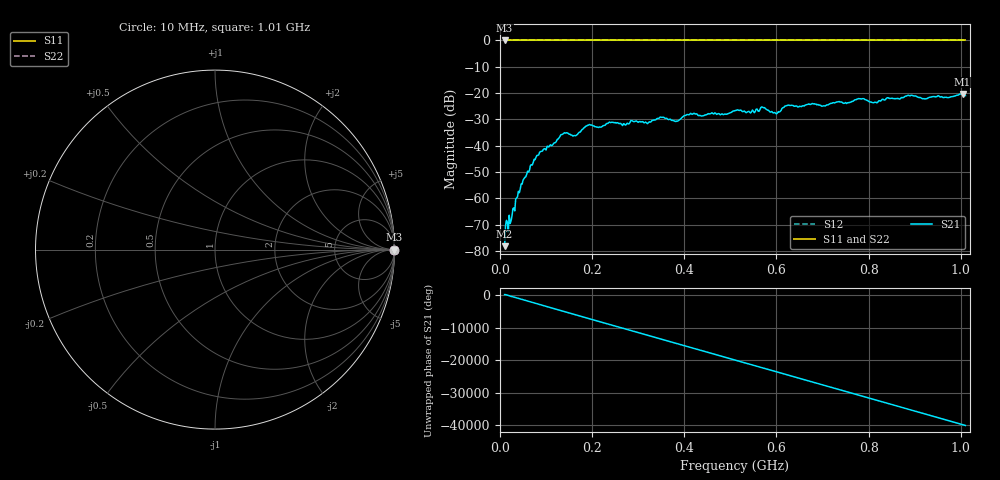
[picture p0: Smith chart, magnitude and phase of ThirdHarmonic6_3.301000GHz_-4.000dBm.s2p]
! 8/17/2025 10:17:26 AM
! C:\ANRITSUVNA\TEMP\TEMP.S2P
! CHANNEL.1
! TR.MEASUREMENT
! RAW.DATA
! RF.CORRECTION.OFF
! AVERAGING.OFF
! IF.BANDWIDTH: 5KHZ
! SWEEPTYPE:  FREQ.SWEEP(Linear)
! Reference Plane Port Info
! PORT:  PORT1  PORT2
! DISTANCE:  0  m  0  m
! TIME:  0  s  0  s
! PHASE.OFFSET:  0  deg.  0  deg.
! LOSS:  0  dB  0  dB
! REF.LOSS:  0  dB  0  dB
! REF.FREQ:  0  Hz  0  Hz
! Power Info
! POWER:  -20  dBm  -20  dBm
! EFF.POWER:  -20  dBm  -20  dBm
! SOURCE.ATTEN:  0  dB  0  dB
! TEST.ATTEN:  0  dB  0  dB
# GHZ S RI R 50.0
! FREQ.GHZ  S11RE  S11IM  S21RE  S21IM  S12RE  S12IM  S22RE  S22IM
!; PortSelection: Port_12
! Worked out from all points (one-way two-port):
!   501 points, 10 MHz to 1.01 GHz, reference 50 ohm
!   highest |S21| = -20.36 dB at 1.004 GHz (marker M1); lowest = -78.2 dB at 10 MHz (marker M2)
!   lowest |S11| = 0.0 dB at 10 MHz (marker M3)
!   |S11| at or under -10 dB: nowhere
!   |S22| runs from 0.0 to 0.0 dB; largest |S21 - S12| = 1.1
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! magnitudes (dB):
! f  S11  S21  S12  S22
! 10 MHz  0.0  -78.2  0.0  0.0
! 16 MHz  0.0  -69.2  0.0  0.0
! 22 MHz  0.0  -69.6  0.0  0.0
! 48 MHz  0.0  -54.6  0.0  0.0
! 78 MHz  0.0  -44.5  0.0  0.0
! 136 MHz  0.0  -35.6  0.0  0.0
! 162 MHz  0.0  -36.1  0.0  0.0
! 178 MHz  0.0  -33.9  0.0  0.0
! 194 MHz  0.0  -32.0  0.0  0.0
! 322 MHz  0.0  -31.3  0.0  0.0
! 344 MHz  0.0  -29.7  0.0  0.0
! 382 MHz  0.0  -30.8  0.0  0.0
! 410 MHz  0.0  -28.3  0.0  0.0
! 510 MHz  0.0  -26.7  0.0  0.0
! 570 MHz  0.0  -25.3  0.0  0.0
! 598 MHz  0.0  -27.6  0.0  0.0
! 622 MHz  0.0  -24.8  0.0  0.0
! 678 MHz  0.0  -24.0  0.0  0.0
! 814 MHz  0.0  -23.5  0.0  0.0
! 844 MHz  0.0  -22.0  0.0  0.0
! 1.004 GHz  0.0  -20.4  0.0  0.0
! 1.01 GHz  0.0  -21.0  0.0  0.0
